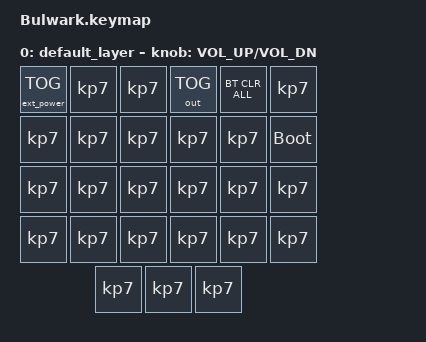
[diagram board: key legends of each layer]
/*
 * Copyright (c) 2020 The ZMK Contributors
 *
 * SPDX-License-Identifier: MIT
 */
 
#include <behaviors.dtsi>
#include <dt-bindings/zmk/keys.h>
#include <dt-bindings/zmk/bt.h>
#include <dt-bindings/zmk/ext_power.h>
#include <dt-bindings/zmk/outputs.h>

/ {

#define DEFAULT 0
#define GAME    1
#define NAVI    2

//=====================================================================================================
     behaviors {
        hm: homerow_mods {
            compatible = "zmk,behavior-hold-tap";
            #binding-cells = <2>;
            tapping-term-ms = <200>;
            quick-tap-ms = <0>;
            flavor = "tap-preferred";
            bindings = <&kp>, <&kp>;
            }
        };
//=====================================================================================================
    combos {
        compatible = "zmk,combos";
        combo_lock {
        key-positions = <0 1 2 3>;
        bindings = <&ext_power EP_TOG>;
        };
    };
//=====================================================================================================

    keymap {
        compatible = "zmk,keymap";

        default_layer {
// This area is a readable layout for this specific key layer. Below it are the 'bindings' for each key
// ---------------------------------------------------------------------------------------------------
            bindings = <
//               _____________   _____________   _____________   _____________   _____________      ______
//              |     lock    | |     ###     | |     ###     | |  togBLE&USB | |     ###     |    | EN_# |
               &ext_power EP_TOG   &kp KP_N7       &kp KP_N7     &out OUT_TOG   &bt BT_CLR_ALL     &kp KP_N7
//              |_____________| |_____________| |_____________| |_____________| |_____________|    |______|
//               _____________   _____________   _____________   _____________   _____________   _____________
//              |     ###     | |     ###     | |     ###     | |     ###     | |     ###     | |     ###     |
                    &kp KP_N7       &kp KP_N7       &kp KP_N7       &kp KP_N7       &kp KP_N7      &bootloader
//              |_____________| |_____________| |_____________| |_____________| |_____________| |_____________|
//               _____________   _____________   _____________   _____________   _____________   _____________
//              |     ###     | |     ###     | |     ###     | |     ###     | |     ###     | |     ###     |
                    &kp KP_N7       &kp KP_N7       &kp KP_N7       &kp KP_N7       &kp KP_N7       &kp KP_N7
//              |_____________| |_____________| |_____________| |_____________| |_____________| |_____________|
//               _____________   _____________   _____________   _____________   _____________   _____________
//              |     ###     | |     ###     | |     ###     | |     ###     | |     ###     | |     ###     |
                    &kp KP_N7       &kp KP_N7       &kp KP_N7       &kp KP_N7       &kp KP_N7       &kp KP_N7
//              |_____________| |_____________| |_____________| |_____________| |_____________| |_____________|
//       _____________   _____________   _____________
//      |     ###     | |     ###     | |     ###     |
            &kp KP_N7       &kp KP_N7       &kp KP_N7
//      |_____________| |_____________| |_____________|
// ---------------------------------------------------------------------------------------------------
            >;
            sensor-bindings =
                <&inc_dec_kp C_VOL_UP C_VOL_DN>;
                <&hm LCTRL A &hm LGUI S &hm LALT D &hm LSHIFT F>;
        };
    };
};
cp ~/Downloads/bulwark-nice_nano_v2-zmk.uf2 /Volumes/NICENANO/
